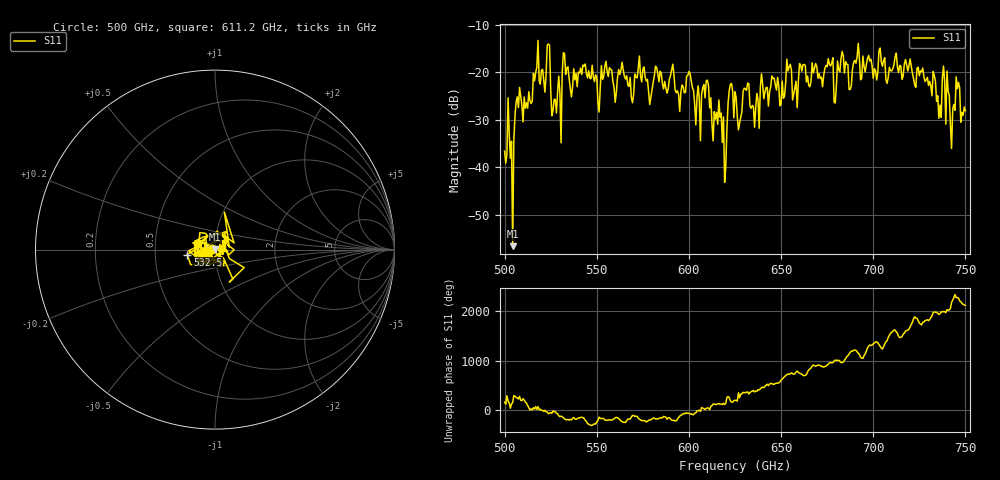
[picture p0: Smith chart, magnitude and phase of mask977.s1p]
!Created with skrf (http://scikit-rf.org).
# GHz S MA R 50.0
!freq magS11 angS11
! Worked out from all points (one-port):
!   401 points, 500 GHz to 750 GHz, reference 50 ohm
!   lowest |S11| = -56.6 dB at 504.4 GHz (marker M1), VSWR 1.00, Z = 49.9 + j0.0558 ohm
!   |S11| at or under -10 dB: start of sweep to end of sweep
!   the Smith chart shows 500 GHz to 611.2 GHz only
!   S11 on the Smith chart (normalised r, x): 500 GHz: 0.97, +0.01; 532.5 GHz: 0.73, -0.04; 611.2 GHz: 1.09, +0.02
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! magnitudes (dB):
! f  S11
! 500 GHz  -36.7
! 502.5 GHz  -33.0
! 504.4 GHz  -56.6
! 506.9 GHz  -25.2
! 513.8 GHz  -26.0
! 516.9 GHz  -20.1
! 523.8 GHz  -14.1
! 526.9 GHz  -25.7
! 531.2 GHz  -20.2
! 532.5 GHz  -16.1
! 550.6 GHz  -26.4
! 562.5 GHz  -20.5
! 579.4 GHz  -25.2
! 590.6 GHz  -19.6
! 593.8 GHz  -23.9
! 600 GHz  -19.9
! 605 GHz  -22.9
! 611.2 GHz  -27.5
! 619.4 GHz  -43.2
! 622.5 GHz  -22.6
! 625 GHz  -24.1
! 656.2 GHz  -25.9
! 680 GHz  -23.0
! 683.8 GHz  -16.5
! 687.5 GHz  -23.7
! 691.2 GHz  -16.8
! 718.8 GHz  -19.8
! 750 GHz  -28.1
